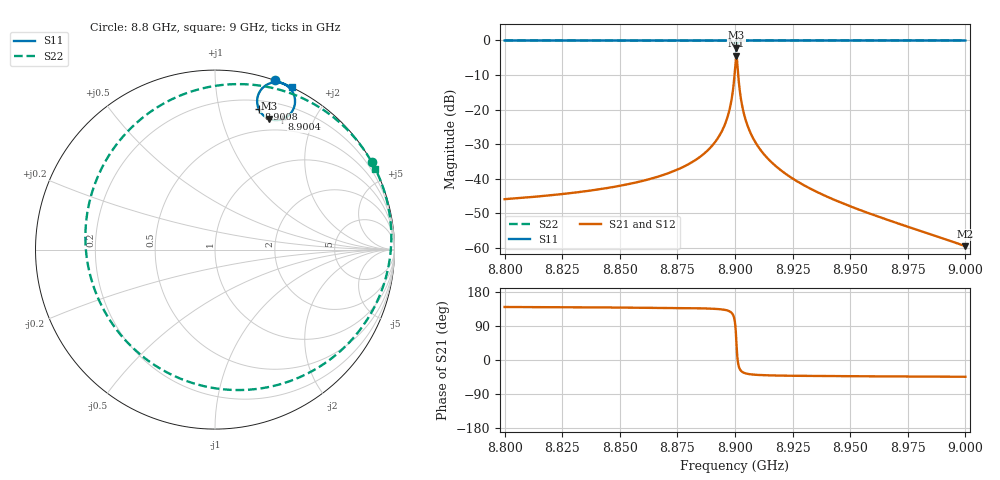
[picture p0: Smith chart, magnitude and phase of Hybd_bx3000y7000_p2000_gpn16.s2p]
! Sonnet Data File
! From: emgraph Version : 16.52
! From Project: Resonator2
! Data is De-embedded
! Data File Written: 10/06/2017 09:13:21
!< HDATE 10/05/2017 15:18:40
!< MDATE 10/05/2017 15:18:40
!< PARAMS
!< gap = 16.0
!< Length = 400.0
!< Pwid1 = 2000.0
!< Pwid2 = 2000.0
!< END PARAMS
# GHZ S MA R 50.0 !  non standard terminations in data
! TERM 51.80000 0.000000 35.97000 0.000000
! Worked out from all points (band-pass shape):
!   1595 points, 8.8 GHz to 9 GHz, reference 50 ohm
!   highest |S21| = -4.43 dB at 8.9006 GHz (marker M1); lowest = -59.5 dB at 9 GHz (marker M2)
!   |S21| within 3 dB of the highest: 8.900104 GHz to 8.901086 GHz (982.2 kHz wide, 0.011 % of centre)
!   lowest |S11| = -2.1 dB at 8.9006 GHz (marker M3), VSWR 8.44, Z = 18.5 + j71.4 ohm
!   |S11| at or under -10 dB: nowhere
!   |S22| runs from -3.0 to 0.0 dB; largest |S21 - S12| = 0
!   S11 on the Smith chart (normalised r, x): 8.8 GHz: 0.00, +1.41; 8.9004 GHz: 0.36, +1.58; 8.9008 GHz: 0.28, +1.32; 9 GHz: 0.00, +1.58
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8.8  1 70.5  0.005088 139.9  0.005088 139.9  1 29.2
!< P1 F=8.8 Eeff=(6.44679989 -2.9721e-5) Z0=(51.7992624 1.19519e-4) R=0.0 C=0.0
!< P2 F=8.8 Eeff=(5.36817953 -2.3731e-5) Z0=(35.9853883 8.0522e-5) R=0.0 C=0.0
8.8334  1 69.5  0.006511 138.9  0.006511 138.9  1 28.4
8.8668  0.9999 68.4  0.01082 137.8  0.01082 137.8  0.9999 27.1
8.885997  0.9997 67.6  0.02229 136.2  0.02229 136.2  0.9997 24.9
8.8954  0.9982 66.6  0.05867 132.5  0.05867 132.5  0.9976 18.9
8.8986  0.9888 64.8  0.1457 124.0  0.1457 124.0  0.9852 4.3
8.899578  0.9631 62.7  0.263 112.1  0.263 112.1  0.9508 -16.5
8.9  0.9197 61.1  0.3833 98.4  0.3833 98.4  0.892 -41.6
8.900196  0.8786 60.9  0.4664 87.1  0.4664 87.1  0.835 -63.5
8.900412  0.8171 62.7  0.5628 68.5  0.5628 68.5  0.7474 -103.2
8.900597  0.7882 67.6  0.6008 48.0  0.6008 48.0  0.7048 -151.7
8.900789  0.8195 72.6  0.5595 26.6  0.5595 26.6  0.7505 157.9
8.901004  0.8806 74.4  0.4625 8.3  0.4625 8.3  0.8374 119.0
8.901139  0.9109 74.2  0.4029 0.1  0.4029 0.1  0.8793 102.9
8.901412  0.9484 73.3  0.3094 -11.0  0.3094 -11.0  0.9306 82.3
8.901828  0.9739 71.9  0.2214 -20.4  0.2214 -20.4  0.965 65.5
8.904041  0.9964 69.2  0.08303 -34.1  0.08303 -34.1  0.9951 41.8
8.9078  0.9992 68.2  0.03896 -38.5  0.03896 -38.5  0.9989 34.5
8.913818  0.9998 67.6  0.02034 -40.4  0.02034 -40.4  0.9997 31.4
8.9334  1 66.8  0.007024 -42.1  0.007024 -42.1  1 28.9
8.9668  1 65.7  0.002517 -43.3  0.002517 -43.3  1 27.6
9  1 64.7  0.001065 -44.2  0.001065 -44.2  1 26.8
